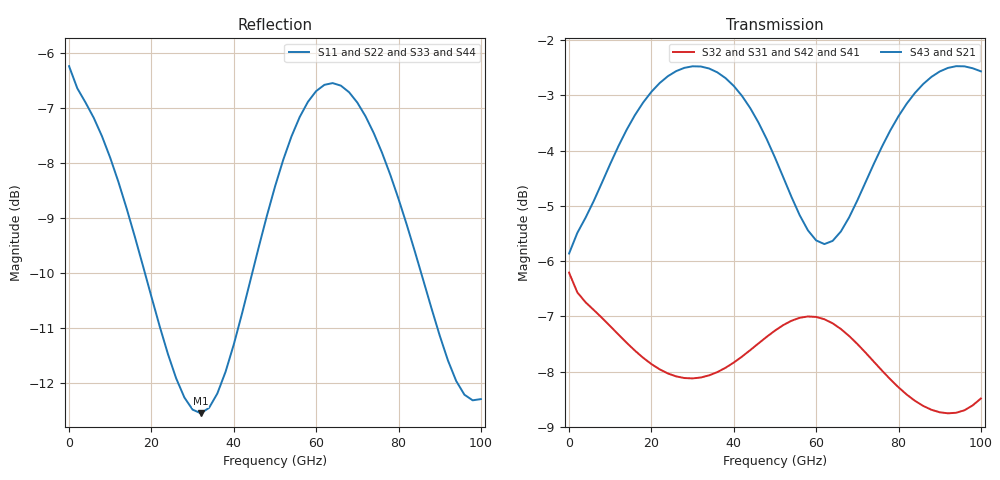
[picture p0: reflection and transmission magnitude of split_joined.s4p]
! Created with skrf 2.2.0 (http://scikit-rf.org).
# GHz S RI R 50.0
!freq ReS11 ImS11 ReS12 ImS12 ReS13 ImS13
! ReS14 ImS14
! ReS21 ImS21 ReS22 ImS22 ReS23 ImS23
! ReS24 ImS24
! ReS31 ImS31 ReS32 ImS32 ReS33 ImS33
! ReS34 ImS34
! ReS41 ImS41 ReS42 ImS42 ReS43 ImS43
! ReS44 ImS44
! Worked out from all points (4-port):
!   52 points, 10 MHz to 100 GHz, reference 50 ohm
!   strongest paths, dB at 10 MHz, 24 GHz, 50 GHz, 76 GHz, 100 GHz:
!     S43: -5.9, -2.7, -4.1, -3.9, -2.6
!     S21: -5.9, -2.7, -4.1, -3.9, -2.6
!     S32: -6.2, -8.0, -7.3, -8.0, -8.5
!     S31: -6.2, -8.0, -7.3, -8.0, -8.5
!     S42: -6.2, -8.0, -7.3, -8.0, -8.5
!     S41: -6.2, -8.0, -7.3, -8.0, -8.5
!   lowest |S11| = -12.6 dB at 32 GHz (marker M1), VSWR 1.62, Z = 31.2 + j3.37 ohm
!   |S11| at or under -10 dB: 18.42 GHz to 44.47 GHz (26.05 GHz wide, 82.8 % of centre); 85.51 GHz to end of sweep
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0.01  -0.4879 0.000858  0.5093 0.000581  0.4893 -0.000877  0.4893 -0.000877
      0.5093 0.000581  -0.4879 0.000858  0.4893 -0.000877  0.4893 -0.000877
      0.4893 -0.000877  0.4893 -0.000877  -0.4879 0.000859  0.5093 0.000581
      0.4893 -0.000877  0.4893 -0.000877  0.5093 0.000581  -0.4879 0.000859
14  -0.3311 0.1459  0.6556 0.0693  0.2924 -0.3054  0.2924 -0.3054
    0.6556 0.0693  -0.3311 0.1459  0.2923 -0.3054  0.2923 -0.3054
    0.2924 -0.3054  0.2923 -0.3054  -0.3312 0.146  0.6555 0.0693
    0.2924 -0.3054  0.2923 -0.3054  0.6555 0.0693  -0.3312 0.1459
32  -0.2301 0.0512  0.7424 -0.1182  -0.0267 -0.3924  -0.0266 -0.3923
    0.7424 -0.1182  -0.2301 0.0512  -0.0268 -0.3924  -0.0267 -0.3924
    -0.0267 -0.3924  -0.0268 -0.3924  -0.2301 0.0516  0.7424 -0.1178
    -0.0266 -0.3923  -0.0267 -0.3924  0.7424 -0.1178  -0.23 0.0515
48  -0.3561 0.00486  0.5975 -0.2449  -0.3208 -0.2834  -0.3207 -0.2835
    0.5975 -0.2449  -0.3562 0.00502  -0.3209 -0.2834  -0.3208 -0.2834
    -0.3208 -0.2834  -0.3209 -0.2834  -0.3556 0.00556  0.5981 -0.2443
    -0.3207 -0.2835  -0.3208 -0.2834  0.5981 -0.2443  -0.3555 0.0053
62  -0.4324 0.182  0.4998 -0.1362  -0.442 0.042  -0.442 0.0417
    0.4998 -0.1362  -0.4324 0.1824  -0.4421 0.0421  -0.442 0.0419
    -0.442 0.042  -0.4421 0.0421  -0.4311 0.1822  0.5011 -0.1363
    -0.442 0.0417  -0.442 0.0419  0.5011 -0.1363  -0.431 0.1817
78  -0.2525 0.2953  0.6494 -0.0988  -0.2204 0.3239  -0.2206 0.3237
    0.6494 -0.0988  -0.2524 0.2956  -0.2203 0.3241  -0.2204 0.3239
    -0.2204 0.3239  -0.2203 0.3241  -0.2515 0.2943  0.6503 -0.1001
    -0.2206 0.3237  -0.2204 0.3239  0.6503 -0.1001  -0.2516 0.2938
100  -0.1897 0.1517  0.661 -0.3416  0.1407 0.3491  0.1403 0.3492
     0.661 -0.3416  -0.1897 0.152  0.1409 0.3491  0.1406 0.3492
     0.1407 0.3491  0.1409 0.3491  -0.1904 0.1504  0.6604 -0.3431
     0.1403 0.3492  0.1406 0.3492  0.6604 -0.3431  -0.1902 0.1499
